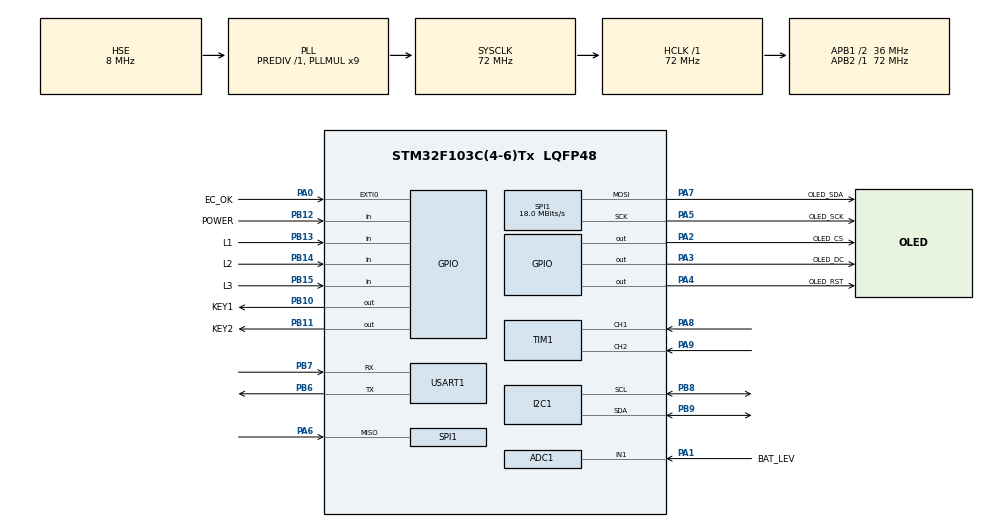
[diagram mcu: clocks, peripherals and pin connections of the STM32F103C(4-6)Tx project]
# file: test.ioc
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ADC1.Channel-1\#ChannelRegularConversion=ADC_CHANNEL_1
ADC1.NbrOfConversionFlag=1
ADC1.Rank-1\#ChannelRegularConversion=1
ADC1.SamplingTime-1\#ChannelRegularConversion=ADC_SAMPLETIME_1CYCLE_5
ADC1.master=1
Dma.Request0=SPI1_TX
Dma.SPI1_TX.0.Direction=DMA_MEMORY_TO_PERIPH
Dma.SPI1_TX.0.Instance=DMA1_Channel3
Dma.SPI1_TX.0.MemDataAlignment=DMA_MDATAALIGN_BYTE
Dma.SPI1_TX.0.MemInc=DMA_MINC_ENABLE
Dma.SPI1_TX.0.Mode=DMA_NORMAL
Dma.SPI1_TX.0.PeriphDataAlignment=DMA_PDATAALIGN_BYTE
Dma.SPI1_TX.0.PeriphInc=DMA_PINC_DISABLE
Dma.SPI1_TX.0.Priority=DMA_PRIORITY_LOW
Mcu.Family=STM32F1
Mcu.Name=STM32F103C(4-6)Tx
Mcu.Package=LQFP48
NVIC.ADC1_2_IRQn=true\:4\:0\:true\:false\:true\:true\:true\:true
NVIC.DMA1_Channel3_IRQn=true\:0\:0\:false\:false\:true\:false\:true\:true
NVIC.EXTI0_IRQn=true\:5\:0\:true\:false\:true\:true\:true\:true
NVIC.PriorityGroup=NVIC_PRIORITYGROUP_4
NVIC.TIM2_IRQn=true\:0\:0\:false\:false\:true\:true\:true\:true
PA0-WKUP.GPIO_Label=EC_OK
PA0-WKUP.GPIO_PuPd=GPIO_PULLDOWN
PA0-WKUP.Signal=GPXTI0
PA1.GPIO_Label=BAT_LEV
PA1.Signal=ADCx_IN1
PA13.Mode=Serial_Wire
PA13.Signal=SYS_JTMS-SWDIO
PA14.Mode=Serial_Wire
PA14.Signal=SYS_JTCK-SWCLK
PA2.GPIO_Label=OLED_CS
PA2.GPIO_PuPd=GPIO_NOPULL
PA2.GPIO_Speed=GPIO_SPEED_FREQ_LOW
PA2.PinState=GPIO_PIN_RESET
PA2.Signal=GPIO_Output
PA3.GPIO_Label=OLED_DC
PA3.GPIO_PuPd=GPIO_NOPULL
PA3.GPIO_Speed=GPIO_SPEED_FREQ_LOW
PA3.PinState=GPIO_PIN_RESET
PA3.Signal=GPIO_Output
PA4.GPIO_Label=OLED_RST
PA4.GPIO_PuPd=GPIO_NOPULL
PA4.GPIO_Speed=GPIO_SPEED_FREQ_LOW
PA4.PinState=GPIO_PIN_RESET
PA4.Signal=GPIO_Output
PA5.GPIO_Label=OLED_SCK
PA5.Mode=Full_Duplex_Master
PA5.Signal=SPI1_SCK
PA6.Mode=Full_Duplex_Master
PA6.Signal=SPI1_MISO
PA7.GPIO_Label=OLED_SDA
PA7.Mode=Full_Duplex_Master
PA7.Signal=SPI1_MOSI
PA8.GPIO_PuPd=GPIO_PULLUP
PA8.Signal=S_TIM1_CH1
PA9.GPIO_PuPd=GPIO_PULLUP
PA9.Signal=S_TIM1_CH2
PB10.GPIO_Label=KEY1
PB10.GPIO_PuPd=GPIO_PULLUP
PB10.Signal=GPIO_Output
PB11.GPIO_Label=KEY2
PB11.GPIO_PuPd=GPIO_PULLUP
PB11.Signal=GPIO_Output
PB12.GPIO_Label=POWER
PB12.Signal=GPIO_Input
PB13.GPIO_Label=L1
PB13.GPIO_PuPd=GPIO_PULLDOWN
PB13.Signal=GPIO_Input
PB14.GPIO_Label=L2
PB14.GPIO_PuPd=GPIO_PULLDOWN
PB14.Signal=GPIO_Input
PB15.GPIO_Label=L3
PB15.GPIO_PuPd=GPIO_PULLDOWN
PB15.Signal=GPIO_Input
PB6.Mode=Asynchronous
PB6.Signal=USART1_TX
PB7.Mode=Asynchronous
PB7.Signal=USART1_RX
PB8.Mode=I2C
PB8.Signal=I2C1_SCL
PB9.Mode=I2C
PB9.Signal=I2C1_SDA
PC14-OSC32_IN.Mode=LSE-External-Oscillator
PC14-OSC32_IN.Signal=RCC_OSC32_IN
PC15-OSC32_OUT.Mode=LSE-External-Oscillator
PC15-OSC32_OUT.Signal=RCC_OSC32_OUT
PD0-OSC_IN.Mode=HSE-External-Oscillator
PD0-OSC_IN.Signal=RCC_OSC_IN
PD1-OSC_OUT.Mode=HSE-External-Oscillator
PD1-OSC_OUT.Signal=RCC_OSC_OUT
ProjectManager.HeapSize=0x200
ProjectManager.StackSize=0x400
ProjectManager.TargetToolchain=MDK-ARM V5.32
RCC.ADCPresc=RCC_ADCPCLK2_DIV6
RCC.AHBFreq_Value=72000000
RCC.APB1CLKDivider=RCC_HCLK_DIV2
RCC.APB1Freq_Value=36000000
RCC.APB1TimFreq_Value=72000000
RCC.APB2Freq_Value=72000000
RCC.APB2TimFreq_Value=72000000
RCC.HCLKFreq_Value=72000000
RCC.PLLMUL=RCC_PLL_MUL9
RCC.PLLSourceVirtual=RCC_PLLSOURCE_HSE
RCC.SYSCLKFreq_VALUE=72000000
RCC.SYSCLKSource=RCC_SYSCLKSOURCE_PLLCLK
RCC.USBFreq_Value=72000000
SH.ADCx_IN1.0=ADC1_IN1,IN1
SH.S_TIM1_CH1.0=TIM1_CH1,Encoder_Interface
SH.S_TIM1_CH2.0=TIM1_CH2,Encoder_Interface
SPI1.BaudRatePrescaler=SPI_BAUDRATEPRESCALER_4
SPI1.CalculateBaudRate=18.0 MBits/s
SPI1.Direction=SPI_DIRECTION_2LINES
SPI1.Mode=SPI_MODE_MASTER
SPI1.VirtualType=VM_MASTER
TIM1.EncoderMode=TIM_ENCODERMODE_TI12
TIM1.IC1Filter=15
TIM1.IC1Polarity=TIM_ICPOLARITY_RISING
TIM1.IC2Filter=15
TIM1.IC2Polarity=TIM_ICPOLARITY_RISING
TIM2.Period=1000
TIM2.Prescaler=7200-1
USART1.VirtualMode=VM_ASYNC
VP_RTC_VS_RTC_Activate.Mode=RTC_Enabled
VP_RTC_VS_RTC_Calendar.Mode=RTC_Calendar
VP_TIM2_VS_ClockSourceINT.Mode=Internal
board=custom

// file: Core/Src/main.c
/* USER CODE BEGIN Header */
/**
  ******************************************************************************
  * @file           : main.c
  * @brief          : Main program body
  ******************************************************************************
  * @attention
  *
  * Copyright (c) 2025 STMicroelectronics.
  * All rights reserved.
  *
  * This software is licensed under terms that can be found in the LICENSE file
  * in the root directory of this software component.
  * If no LICENSE file comes with this software, it is provided AS-IS.
  *
  ******************************************************************************
  */
/* USER CODE END Header */
#include "main.h"
#include "adc.h"
#include "dma.h"
#include "i2c.h"
#include "rtc.h"
#include "spi.h"
#include "tim.h"
#include "usart.h"
#include "gpio.h"

/* USER CODE BEGIN Includes */
#include "delay.h"
#include "key.h"
#include "light_task.h"
#include "light_ui.h"
#include "ds18b20.h"
#include "oled.h"
//#include "bmp.h"
#include "all_task.h"

/* USER CODE END Includes */

/* USER CODE BEGIN PTD */

uint32_t start_time = 0;

/* USER CODE END PTD */

void SystemClock_Config(void);

/* USER CODE BEGIN 0 */

//显示轮询一次消耗的时间，单位是us
static uint32_t loop_count = 0;
static uint64_t total_elapsed_cycles = 0;
static uint32_t last_tick = 0;
void ShowRunTime()
{
	uint32_t elapsed_cycles = (DWT->CYCCNT - start_time) & 0xFFFFFFFF;
	total_elapsed_cycles += elapsed_cycles;
	loop_count++;
	uint32_t current_tick = HAL_GetTick();
	if (current_tick - last_tick >= 1000)
	{
			last_tick = current_tick;
			uint32_t avg_us = (total_elapsed_cycles / loop_count)/SYSClock_MHZ;
		if(avg_us>10000)
		{
			OLED_ShowString(86, 48, "T:", 12, 1);
			OLED_ShowNum(98, 48, avg_us/1000, 4, 12, 1);
			OLED_ShowString(122, 48, "m", 12, 1);
		}
		else
		{
			OLED_ShowString(86, 48, "T:", 12, 1);
			OLED_ShowNum(98, 48, avg_us, 4, 12, 1);
			OLED_ShowString(122, 48, "u", 12, 1);
		}

			total_elapsed_cycles = 0;
			loop_count = 0;
	}
}

/* USER CODE END 0 */

int main(void)
{

  /* MCU Configuration--------------------------------------------------------*/

  /* Reset of all peripherals, Initializes the Flash interface and the Systick. */
  HAL_Init();

  /* Configure the system clock */
  SystemClock_Config();

  /* Initialize all configured peripherals */
  MX_GPIO_Init();
  MX_DMA_Init();
  MX_I2C1_Init();
  MX_TIM1_Init();
  MX_USART1_UART_Init();
  MX_ADC1_Init();
  MX_TIM2_Init();
  MX_SPI1_Init();
  MX_RTC_Init();
  /* USER CODE BEGIN 2 */
	DWT_Init();
	HAL_TIM_Encoder_Start(&htim1, TIM_CHANNEL_ALL);
	HAL_ADC_Start_IT(&hadc1);
	DS18B20_Init();
	OLED_Init();
	OLED_DisPlay_On();
	OLED_ColorTurn(0);
  OLED_DisplayTurn(0);
	printf("system_ok\r\n");
  /* USER CODE END 2 */

  /* Infinite loop */
  /* USER CODE BEGIN WHILE */
	ShowTime_Task(NULL);
	ShowBATLev_Task(NULL);
	ShowTEMP_Task(NULL);
	ShowFAN_Task(NULL);
	Show_SysTime_Task(NULL);
	HAL_StatusTypeDef uart;
  while (1)
  {
		start_time = DWT->CYCCNT;

		DelayCall(Key_Scan_Task, &key1, 10);
		Run_Fan_Task(16);

		DelayCall(ShowTime_Task, (void *)&Time_Task_Run, 100);
    DelayCall(ShowBATLev_Task, NULL, 3000);
    DelayCall(ShowTEMP_Task, NULL, 1000);
		DelayCall(Show_SysTime_Task,NULL, 200);
    OLED_Refresh();
		ShowRunTime();

    /* USER CODE END WHILE */

  }
}

void SystemClock_Config(void)
{
  RCC_OscInitTypeDef RCC_OscInitStruct = {0};
  RCC_ClkInitTypeDef RCC_ClkInitStruct = {0};
  RCC_PeriphCLKInitTypeDef PeriphClkInit = {0};

  /** Initializes the RCC Oscillators according to the specified parameters
  * in the RCC_OscInitTypeDef structure.
  */
  RCC_OscInitStruct.OscillatorType = RCC_OSCILLATORTYPE_LSI|RCC_OSCILLATORTYPE_HSE;
  RCC_OscInitStruct.HSEState = RCC_HSE_ON;
  RCC_OscInitStruct.HSEPredivValue = RCC_HSE_PREDIV_DIV1;
  RCC_OscInitStruct.HSIState = RCC_HSI_ON;
  RCC_OscInitStruct.LSIState = RCC_LSI_ON;
  RCC_OscInitStruct.PLL.PLLState = RCC_PLL_ON;
  RCC_OscInitStruct.PLL.PLLSource = RCC_PLLSOURCE_HSE;
  RCC_OscInitStruct.PLL.PLLMUL = RCC_PLL_MUL9;
  if (HAL_RCC_OscConfig(&RCC_OscInitStruct) != HAL_OK)
  {
    Error_Handler();
  }

  /** Initializes the CPU, AHB and APB buses clocks
  */
  RCC_ClkInitStruct.ClockType = RCC_CLOCKTYPE_HCLK|RCC_CLOCKTYPE_SYSCLK
                              |RCC_CLOCKTYPE_PCLK1|RCC_CLOCKTYPE_PCLK2;
  RCC_ClkInitStruct.SYSCLKSource = RCC_SYSCLKSOURCE_PLLCLK;
  RCC_ClkInitStruct.AHBCLKDivider = RCC_SYSCLK_DIV1;
  RCC_ClkInitStruct.APB1CLKDivider = RCC_HCLK_DIV2;
  RCC_ClkInitStruct.APB2CLKDivider = RCC_HCLK_DIV1;

  if (HAL_RCC_ClockConfig(&RCC_ClkInitStruct, FLASH_LATENCY_2) != HAL_OK)
  {
    Error_Handler();
  }
  PeriphClkInit.PeriphClockSelection = RCC_PERIPHCLK_RTC|RCC_PERIPHCLK_ADC;
  PeriphClkInit.RTCClockSelection = RCC_RTCCLKSOURCE_LSI;
  PeriphClkInit.AdcClockSelection = RCC_ADCPCLK2_DIV6;
  if (HAL_RCCEx_PeriphCLKConfig(&PeriphClkInit) != HAL_OK)
  {
    Error_Handler();
  }
}

/* USER CODE BEGIN 4 */

//void HAL_UART_RxCpltCallback(UART_HandleTypeDef *huart)
//{
//    if (huart->Instance == USART1)
//    {
//				printf("rx");
//        usart_rxdate[sizeof(usart_rxdate) - 1] = '\0'; // 简化处理，假设接收满
//        OLED_ShowString(0, 0, usart_rxdate, 16, 1);
//
//        // 重新启动接收
//        HAL_UART_Receive_IT(&huart1, usart_rxdate, sizeof(usart_rxdate));
//    }
//}

/* USER CODE END 4 */

void Error_Handler(void)
{
  __disable_irq();
  while (1)
  {
  }
}
